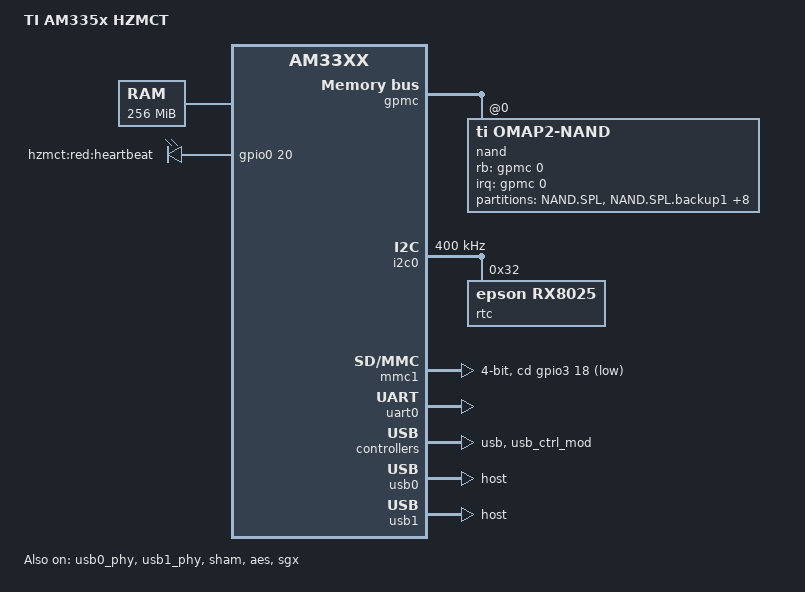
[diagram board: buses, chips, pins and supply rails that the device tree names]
/dts-v1/;

#include "am33xx.dtsi"
#include <dt-bindings/pwm/pwm.h>
#include <dt-bindings/interrupt-controller/irq.h>

/ {
	model = "TI AM335x HZMCT";
	compatible = "ti,am335x-hzmct", "ti,am33xx";

	memory@80000000 {
		device_type = "memory";
		reg = <0x80000000 0x10000000>; /* 256 MB */
	};

	chosen {
		stdout-path = &uart0;
	};

	leds {
		pinctrl-names = "default";
		pinctrl-0 = <&leds_pins_default>;

		compatible = "gpio-leds";

		led0 {
			label = "hzmct:red:heartbeat";
			gpios = <&gpio0 20 GPIO_ACTIVE_HIGH>;
			linux,default-trigger = "heartbeat";
			default-state = "off";
		};
	}
};

&am33xx_pinmux {
	leds_pins_default: leds_pins_default {
		pinctrl-single,pins = <
			AM33XX_IOPAD(0x9b4, PIN_INPUT | MUX_MODE7) /* (D14) xdma_event_intr1.gpio0[20] */
		>;
	};
	nand_pins_default: nand_pins_default {
		pinctrl-single,pins = <
			AM33XX_IOPAD(0x81c, PIN_INPUT_PULLUP | MUX_MODE0) /* (T9) gpmc_ad7.gpmc_ad7 */
			AM33XX_IOPAD(0x818, PIN_INPUT_PULLUP | MUX_MODE0) /* (R9) gpmc_ad6.gpmc_ad6 */
			AM33XX_IOPAD(0x814, PIN_INPUT_PULLUP | MUX_MODE0) /* (V8) gpmc_ad5.gpmc_ad5 */
			AM33XX_IOPAD(0x810, PIN_INPUT_PULLUP | MUX_MODE0) /* (U8) gpmc_ad4.gpmc_ad4 */
			AM33XX_IOPAD(0x80c, PIN_INPUT_PULLUP | MUX_MODE0) /* (T8) gpmc_ad3.gpmc_ad3 */
			AM33XX_IOPAD(0x808, PIN_INPUT_PULLUP | MUX_MODE0) /* (R8) gpmc_ad2.gpmc_ad2 */
			AM33XX_IOPAD(0x804, PIN_INPUT_PULLUP | MUX_MODE0) /* (V7) gpmc_ad1.gpmc_ad1 */
			AM33XX_IOPAD(0x800, PIN_INPUT_PULLUP | MUX_MODE0) /* (U7) gpmc_ad0.gpmc_ad0 */
			AM33XX_IOPAD(0x870, PIN_INPUT_PULLUP | MUX_MODE0) /* (T17) gpmc_wait0.gpmc_wait0 */
			AM33XX_IOPAD(0x87c, PIN_OUTPUT | MUX_MODE0) /* (V6) gpmc_csn0.gpmc_csn0 */
			AM33XX_IOPAD(0x890, PIN_OUTPUT | MUX_MODE0) /* (R7) gpmc_advn_ale.gpmc_advn_ale */
			AM33XX_IOPAD(0x894, PIN_OUTPUT | MUX_MODE0) /* (T7) gpmc_oen_ren.gpmc_oen_ren */
			AM33XX_IOPAD(0x898, PIN_OUTPUT | MUX_MODE0) /* (U6) gpmc_wen.gpmc_wen */
			AM33XX_IOPAD(0x89c, PIN_OUTPUT | MUX_MODE0) /* (T6) gpmc_be0n_cle.gpmc_be0n_cle */
		>;
	};
	i2c0_pins_default: i2c0_pins_default {
		pinctrl-single,pins = <
			AM33XX_IOPAD(0x98c, PIN_INPUT_PULLUP | MUX_MODE0) /* (C16) I2C0_SCL.I2C0_SCL */
			AM33XX_IOPAD(0x988, PIN_INPUT_PULLUP | MUX_MODE0) /* (C17) I2C0_SDA.I2C0_SDA */
		>;
	};
	mmc0_pins_default: mmc0_pins_default {
		pinctrl-single,pins = <
			AM33XX_IOPAD(0x900, PIN_INPUT_PULLUP | MUX_MODE0) /* (G17) mmc0_clk.mmc0_clk */
			AM33XX_IOPAD(0x904, PIN_INPUT_PULLUP | MUX_MODE0) /* (G18) mmc0_cmd.mmc0_cmd */
			AM33XX_IOPAD(0x8fc, PIN_INPUT_PULLUP | MUX_MODE0) /* (G16) mmc0_dat0.mmc0_dat0 */
			AM33XX_IOPAD(0x8f8, PIN_INPUT_PULLUP | MUX_MODE0) /* (G15) mmc0_dat1.mmc0_dat1 */
			AM33XX_IOPAD(0x8f4, PIN_INPUT_PULLUP | MUX_MODE0) /* (F18) mmc0_dat2.mmc0_dat2 */
			AM33XX_IOPAD(0x8f0, PIN_INPUT_PULLUP | MUX_MODE0) /* (F17) mmc0_dat3.mmc0_dat3 */
		>;
	};
	com_pins_default: com_pins_default {
		pinctrl-single,pins = <
			AM33XX_IOPAD(0x970, PIN_INPUT_PULLUP | MUX_MODE0) /* (E15) uart0_rxd.uart0_rxd */
			AM33XX_IOPAD(0x974, PIN_OUTPUT | MUX_MODE0) /* (E16) uart0_txd.uart0_txd */
		>;
	};
	usb0_pins_default: usb0_pins_default {
		pinctrl-single,pins = <
			AM33XX_IOPAD(0xa1c, PIN_OUTPUT | MUX_MODE0) /* (F16) USB0_DRVVBUS.USB0_DRVVBUS */
		>;
	};
	usb1_pins_default: usb1_pins_default {
		pinctrl-single,pins = <
			AM33XX_IOPAD(0xa34, PIN_OUTPUT | MUX_MODE0) /* (F15) USB1_DRVVBUS.USB1_DRVVBUS */
		>;
	};
};

&gpmc {
	status = "okay";
	pinctrl-names = "default";
	pinctrl-0 = <&nand_pins_default>;
	ranges = <0 0 0x08000000 0x1000000>;	/* CS0: 16MB for NAND */
	nand@0,0 {
		compatible = "ti,omap2-nand";
		reg = <0 0 4>; /* CS0, offset 0, IO size 4 */
		interrupt-parent = <&gpmc>;
		interrupts = <0 IRQ_TYPE_NONE>, /* fifoevent */
			     <1 IRQ_TYPE_NONE>;	/* termcount */
		rb-gpios = <&gpmc 0 GPIO_ACTIVE_HIGH>; /* gpmc_wait0 */
		ti,nand-xfer-type = "prefetch-dma";
		ti,nand-ecc-opt = "bch8";
		ti,elm-id = <&elm>;
		nand-bus-width = <8>;
		gpmc,device-width = <1>;
		gpmc,sync-clk-ps = <0>;
		gpmc,cs-on-ns = <0>;
		gpmc,cs-rd-off-ns = <44>;
		gpmc,cs-wr-off-ns = <44>;
		gpmc,adv-on-ns = <6>;
		gpmc,adv-rd-off-ns = <34>;
		gpmc,adv-wr-off-ns = <44>;
		gpmc,we-on-ns = <0>;
		gpmc,we-off-ns = <40>;
		gpmc,oe-on-ns = <0>;
		gpmc,oe-off-ns = <54>;
		gpmc,access-ns = <64>;
		gpmc,rd-cycle-ns = <82>;
		gpmc,wr-cycle-ns = <82>;
		gpmc,bus-turnaround-ns = <0>;
		gpmc,cycle2cycle-delay-ns = <0>;
		gpmc,clk-activation-ns = <0>;
		gpmc,wr-access-ns = <40>;
		gpmc,wr-data-mux-bus-ns = <0>;
		/* MTD partition table */
		/* All SPL-* partitions are sized to minimal length
		 * which can be independently programmable. For
		 * NAND flash this is equal to size of erase-block */
		#address-cells = <1>;
		#size-cells = <1>;
		partition@0 {
			label = "NAND.SPL";
			reg = <0x00000000 0x000020000>;
		};
		partition@1 {
			label = "NAND.SPL.backup1";
			reg = <0x00020000 0x00020000>;
		};
		partition@2 {
			label = "NAND.SPL.backup2";
			reg = <0x00040000 0x00020000>;
		};
		partition@3 {
			label = "NAND.SPL.backup3";
			reg = <0x00060000 0x00020000>;
		};
		partition@4 {
			label = "NAND.u-boot-spl-os";
			reg = <0x00080000 0x00040000>;
		};
		partition@5 {
			label = "NAND.u-boot";
			reg = <0x000C0000 0x00100000>;
		};
		partition@6 {
			label = "NAND.u-boot-env";
			reg = <0x001C0000 0x00020000>;
		};
		partition@7 {
			label = "NAND.u-boot-env.backup1";
			reg = <0x001E0000 0x00020000>;
		};
		partition@8 {
			label = "NAND.kernel";
			reg = <0x00200000 0x00800000>;
		};
		partition@9 {
			label = "NAND.file-system";
			reg = <0x00A00000 0x0F600000>;
		};
	};
};

&i2c0 {
	pinctrl-names = "default";
	pinctrl-0 = <&i2c0_pins_default>;

	status = "okay";
	clock-frequency = <400000>;

	rtc@32 {
		compatible = "epson,rx8025";
		reg = <0x32>;
	};
};

&mmc1 {
	status = "okay";
	bus-width = <4>;
	pinctrl-names = "default";
	pinctrl-0 = <&mmc0_pins_default>;
	cd-gpios = <&gpio3 18 GPIO_ACTIVE_LOW>;
};

&uart0 {
	pinctrl-names = "default";
	pinctrl-0 = <&com_pins_default>;
	status = "okay";
};


&usb {
	status = "okay";
};

&usb_ctrl_mod {
	status = "okay";
};

&usb0_phy {
	status = "okay";
};

&usb1_phy {
	status = "okay";
};

&usb0 {
	status = "okay";
	dr_mode = "host";
};

&usb1 {
	status = "okay";
	dr_mode = "host";
};

&cppi41dma  {
	status = "okay";
};

&sham {
	status = "okay";
};

&aes {
	status = "okay";
};

&sgx {
	status = "okay";
};
